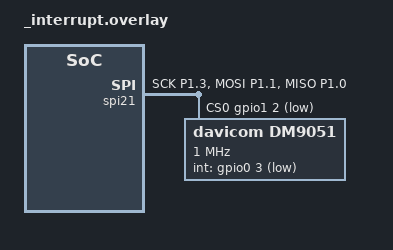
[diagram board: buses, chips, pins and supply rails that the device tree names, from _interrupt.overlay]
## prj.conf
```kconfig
CONFIG_NET_TCP=y

CONFIG_NET_DHCPV4=y
CONFIG_NET_DHCPV4_OPTION_CALLBACKS=y
CONFIG_DNS_RESOLVER=y

# HTTP Parser
CONFIG_HTTP_PARSER=y
CONFIG_HTTP_PARSER_URL=y

# Connection Manager
CONFIG_NET_CONNECTION_MANAGER=y

# Sockets
CONFIG_NET_SOCKETS=y

#CONFIG_TEST_RANDOM_GENERATOR=y

CONFIG_INIT_STACKS=y

CONFIG_NET_MGMT=y
CONFIG_NET_MGMT_EVENT=y
CONFIG_NET_MGMT_EVENT_INFO=y

# Enable POSIX API for socket functions
# CONFIG_NET_SOCKETS_POSIX_NAMES is deprecated, use CONFIG_POSIX_API instead
CONFIG_POSIX_API=y

# Enable the UART driver (nRF54L15 uses UART20, not UART0)
#CONFIG_NET_LOG=y
CONFIG_LOG=y

#CONFIG_SLIP_STATISTICS=n
CONFIG_NET_SHELL=y

# Config logger
#CONFIG_USE_SEGGER_RTT=n
#CONFIG_LOG_BACKEND_RTT=n

# Increase network connection contexts to support more simultaneous connections
CONFIG_NET_MAX_CONN=16
```

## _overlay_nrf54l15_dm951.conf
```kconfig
#
# Copyright (c) 2024 Nordic Semiconductor
#
# SPDX-License-Identifier: LicenseRef-Nordic-5-Clause
#

# Disable the unsupported UART0 driver
CONFIG_NRFX_UARTE0=n

# Enable UART console for logging output
CONFIG_UART_CONSOLE=y
CONFIG_LOG_BACKEND_UART=y

# ENC28J60 Ethernet driver configuration
CONFIG_NET_L2_ETHERNET=y

# SPI support (required for ENC28J60 which uses SPI)
CONFIG_SPI=y

# Optional: Enable debug logging for Ethernet
#CONFIG_ETHERNET_LOG_LEVEL_DBG=y
```

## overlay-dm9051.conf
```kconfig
# DM9051 Ethernet driver configuration
CONFIG_NET_L2_ETHERNET=y

# SPI support (required for DM9051 which uses SPI)
CONFIG_SPI=y

# Optional: Enable debug logging for Ethernet
#CONFIG_ETHERNET_LOG_LEVEL_DBG=y
```

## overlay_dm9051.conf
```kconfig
#
# Copyright (c) 2025 Davicom Semiconductor Inc
#
# SPDX-License
#
CONFIG_NETWORKING=y
CONFIG_NET_IPV6=n
CONFIG_NET_IPV4=y
CONFIG_NET_ARP=y
CONFIG_NET_UDP=y

# --- Basic Network Configuration ---
CONFIG_NET_L2_ETHERNET=y

# Increase the network buffer data size to accommodate a full MTU packet
# This prevents fragmentation for large packets and avoids the "Uncontiguous data cannot be linearized" error
CONFIG_NET_BUF_DATA_SIZE=2048

# --- Resource Allocation for Large Packets ---
# Explicitly enable IPv4 fragment reassembly
CONFIG_NET_IPV4_FRAGMENT=y

# DM9051 Ethernet controller driver
CONFIG_ETH_DM9051=y

# SPI support (DM9051 uses SPI interface)
CONFIG_SPI=y

# GPIO support (DM9051 uses GPIO interfaces)
CONFIG_GPIO=y

# Debug support 
CONFIG_ETH_DM9051_DEBUG_PRINTS=y
```

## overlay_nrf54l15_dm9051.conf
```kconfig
#
# Copyright (c) 2025 Davicom Semiconductor Inc
#
# SPDX-License
#
CONFIG_NETWORKING=y
CONFIG_NET_IPV6=n
CONFIG_NET_IPV4=y
CONFIG_NET_ARP=y
CONFIG_NET_UDP=y

# --- Basic Network Configuration ---
CONFIG_NET_L2_ETHERNET=y

# Increase the network buffer data size to accommodate a full MTU packet
# This prevents fragmentation for large packets and avoids the "Uncontiguous data cannot be linearized" error
CONFIG_NET_BUF_DATA_SIZE=2048

# --- Resource Allocation for Large Packets ---
# Explicitly enable IPv4 fragment reassembly
CONFIG_NET_IPV4_FRAGMENT=y

# DM9051 Ethernet controller driver
CONFIG_ETH_DM9051=y

# SPI support (DM9051 uses SPI interface)
CONFIG_SPI=y
# GPIO support (DM9051 uses GPIO interfaces)
CONFIG_GPIO=y

#  CONFIG_SERIAL=y
# USART printf support (UART console backend for logging)
#  CONFIG_CONSOLE=y
#  CONFIG_UART_CONSOLE=y
CONFIG_LOG_BACKEND_UART=y
# ensure printk available
#  CONFIG_PRINTK=y

# Shell
CONFIG_SHELL_LOG_BACKEND=n

# ensure use nrf54l15 INTERNAL CLOCK
CONFIG_CLOCK_CONTROL_NRF_K32SRC_RC=y
```

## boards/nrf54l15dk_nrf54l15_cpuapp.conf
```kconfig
#
# Copyright (c) 2024 Nordic Semiconductor
#
# SPDX-License-Identifier: LicenseRef-Nordic-5-Clause
#

# Disable the unspupported UART0 driver
CONFIG_NRFX_UARTE0=n

# Enable UART console for logging output
CONFIG_UART_CONSOLE=y
CONFIG_LOG_BACKEND_UART=y
```

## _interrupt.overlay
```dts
/*
 * DM9051 overlay (INTERRUPT mode) for nRF54L15DK CPUAPP
 *
 * - Set int-gpios -> eth_dm9051.c uses interrupt mode (cint(dev)==true)
 * - reset-gpios optional (left commented)
 */

&rram_controller {
	/delete-node/ cpuflpr_sram;
	/delete-node/ cpuflpr_rram;
};

&cpuapp_sram {
	reg = <0x20000000 DT_SIZE_K(256)>;
	ranges = <0x0 0x20000000 0x20040000>;
};

&cpuapp_rram {
	reg = <0x0 DT_SIZE_K(1524)>;
};

/* Keep GPIO ports enabled; enable their required GPIOTE instances */
&gpio0 {
	status = "okay";
};

&gpio1 {
	status = "okay";
};

&gpiote30 {
	status = "okay";
};

&gpiote20 {
	status = "okay";
};

&pinctrl {
	spi21_default: spi21_default {
		group1 {
			psels = <NRF_PSEL(SPIM_SCK, 1, 3)>,
				<NRF_PSEL(SPIM_MOSI, 1, 1)>,
				<NRF_PSEL(SPIM_MISO, 1, 0)>;
		};
	};

	spi21_sleep: spi21_sleep {
		group1 {
			psels = <NRF_PSEL(SPIM_SCK, 1, 3)>,
				<NRF_PSEL(SPIM_MOSI, 1, 1)>,
				<NRF_PSEL(SPIM_MISO, 1, 0)>;
			low-power-enable;
		};
	};
};

&spi21 {
	status = "okay";
	clocks = <&hfpll>;
	cs-gpios = <&gpio1 2 GPIO_ACTIVE_LOW>; /* CS on P1.2 */
	pinctrl-0 = <&spi21_default>;
	pinctrl-1 = <&spi21_sleep>;
	pinctrl-names = "default", "sleep";

	dm9051: dm9051@0 {
		compatible = "davicom,dm9051";
		reg = <0>;
		spi-max-frequency = <1000000>;

		/* Interrupt mode */
		int-gpios = <&gpio0 3 GPIO_ACTIVE_LOW>;

		/* Optional HW reset (fill with your real pin if used) */
		/* reset-gpios = <&gpio1 4 GPIO_ACTIVE_LOW>; */

		local-mac-address = [00 00 00 00 00 00];
	};
};

&nfct {
	status = "disabled";
};

&uicr {
	nfct-pins-as-gpios;
};
```

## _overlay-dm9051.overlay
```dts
/*
 * Device Tree overlay for DM9051 SPI Ethernet Controller
 * 
 * This overlay configures the DM9051 Ethernet controller connected via SPI.
 * Modify the SPI controller, GPIO pins, and other settings according to your
 * hardware configuration.
 */

&spi00 {
	status = "okay";
	
	dm9051: dm9051@0 {
		compatible = "davicom,dm9051";
		reg = <0>;
		spi-max-frequency = <20000000>;
		int-gpios = <&gpio0 5 1>;
	};
};

&gpio0 {
	status = "okay";
};
```

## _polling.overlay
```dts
/*
 * DM9051 overlay (POLLING mode) for nRF54L15DK CPUAPP
 *
 * - No int-gpios -> eth_dm9051.c uses polling mode (cint(dev)==false)
 * - No reset-gpios -> eth_dm9051.c skips HW reset (crst(dev)==false)
 */

&rram_controller {
	/delete-node/ cpuflpr_sram;
	/delete-node/ cpuflpr_rram;
};

&cpuapp_sram {
	reg = <0x20000000 DT_SIZE_K(256)>;
	ranges = <0x0 0x20000000 0x20040000>;
};

&cpuapp_rram {
	reg = <0x0 DT_SIZE_K(1524)>;
};

/* Keep GPIO ports enabled; enable their required GPIOTE instances */
&gpio0 {
	status = "okay";
};

&gpio1 {
	status = "okay";
};

&gpiote30 {
	status = "okay";
};

&gpiote20 {
	status = "okay";
};

&pinctrl {
	spi21_default: spi21_default {
		group1 {
			psels = <NRF_PSEL(SPIM_SCK, 1, 3)>,
				<NRF_PSEL(SPIM_MOSI, 1, 1)>,
				<NRF_PSEL(SPIM_MISO, 1, 0)>;
		};
	};

	spi21_sleep: spi21_sleep {
		group1 {
			psels = <NRF_PSEL(SPIM_SCK, 1, 3)>,
				<NRF_PSEL(SPIM_MOSI, 1, 1)>,
				<NRF_PSEL(SPIM_MISO, 1, 0)>;
			low-power-enable;
		};
	};
};

&spi21 {
	status = "okay";
	clocks = <&hfpll>;
	cs-gpios = <&gpio1 2 GPIO_ACTIVE_LOW>; /* CS on P1.2 */
	pinctrl-0 = <&spi21_default>;
	pinctrl-1 = <&spi21_sleep>;
	pinctrl-names = "default", "sleep";

	dm9051: dm9051@0 {
		compatible = "davicom,dm9051";
		reg = <0>;
		spi-max-frequency = <1000000>;

		/* Polling mode: do NOT set int-gpios */
		/* int-gpios = <&gpio0 3 GPIO_ACTIVE_LOW>; */

		/* Optional HW reset (fill with your real pin if used) */
		/* reset-gpios = <&gpio1 4 GPIO_ACTIVE_LOW>; */

		local-mac-address = [00 00 00 00 00 00];
	};
};

&nfct {
	status = "disabled";
};

&uicr {
	nfct-pins-as-gpios;
};
```

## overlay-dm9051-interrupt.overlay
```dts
/*
 * Device Tree overlay for DM9051 SPI Ethernet Controller - INTERRUPT MODE
 * 
 * This overlay configures the DM9051 Ethernet controller in INTERRUPT mode.
 * The int-gpios property enables interrupt-driven packet reception.
 * 
 * To use this overlay:
 * west build -b nrf54l15dk/nrf54l15/cpuapp -- -DDTC_OVERLAY_FILE="overlay-dm9051-interrupt.overlay"
 */

&spi00 {
	status = "okay";
	
	dm9051: dm9051@0 {
		compatible = "davicom,dm9051";
		reg = <0>;
		spi-max-frequency = <20000000>;
		
		/* Interrupt GPIO configuration - enables INTERRUPT mode */
		/* Adjust the GPIO port and pin according to your hardware */
		int-gpios = <&gpio0 5 GPIO_ACTIVE_LOW>;
		
		/* MAC address (optional, can be set via DHCP) */
		local-mac-address = [00 60 6e 90 51 11];
	};
};

&gpio0 {
	status = "okay";
};
```

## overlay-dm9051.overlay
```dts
/*
 * Device Tree overlay for DM9051 SPI Ethernet Controller
 * 
 * This overlay configures the DM9051 Ethernet controller connected via SPI.
 * Modify the SPI controller, GPIO pins, and other settings according to your
 * hardware configuration.
 */

/dts-v1/;
/plugin/;

#include <dt-bindings/gpio/gpio.h>

/ {
    /*compatible = "nordic,nrf54l15dk-nrf54l15-cpuapp"; */
    compatible = "nordic,nrf54l15dk_nrf54l15_cpuapp";
};

/*
 * Configure SPI controller
 * Change &spi0 to the appropriate SPI controller on your board (e.g., &spi1, &spi2)
 * For nRF54L15, typically use &spi0 or &spi1
 */
&spi0 {
	status = "okay";
	
	/*
	 * DM9051 device node
	 * 
	 * reg = <0> means using CS0 (first chip select)
	 * Change to <1> for CS1, <2> for CS2, etc.
	 */
	dm9051: dm9051@0 {
		compatible = "davicom,dm9051";
		reg = <0>;  /* SPI CS line number */
		
		/*
		 * SPI clock frequency in Hz
		 * DM9051 maximum frequency is typically 25MHz
		 * If you encounter communication issues, try reducing this value
		 */
		spi-max-frequency = <20000000>;  /* 20 MHz */
		
		/*
		 * Interrupt GPIO configuration
		 * Format: <&gpio_controller pin_number active_level>
		 * 
		 * Example for nRF54L15 with P0.05:
		 * int-gpios = <&gpio0 5 GPIO_ACTIVE_LOW>;
		 * 
		 * DM9051 interrupt is typically active low, so use GPIO_ACTIVE_LOW
		 * Modify the GPIO controller and pin number according to your hardware
		 */
		int-gpios = <&gpio0 5 GPIO_ACTIVE_LOW>;
		
		/*
		 * Optional: Set MAC address manually
		 * Format: [byte0 byte1 byte2 byte3 byte4 byte5]
		 * 
		 * If not specified, the driver will use a random MAC address
		 * 
		 * Uncomment and modify the MAC address as needed:
		 */
		/* local-mac-address = [00 02 F7 12 34 56]; */
		
		/*
		 * Optional: Use random MAC address
		 * Uncomment this line to explicitly enable random MAC generation:
		 */
		/* zephyr,random-mac-address; */
	};
};

/*
 * Ensure GPIO controller is enabled
 * Modify &gpio0 to match the GPIO controller used in int-gpios above
 */
&gpio0 {
	status = "okay";
};
```

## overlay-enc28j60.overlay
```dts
/*
 * Device Tree overlay for ENC28J60 SPI Ethernet Controller
 * 
 * This overlay configures the ENC28J60 Ethernet controller connected via SPI.
 * Modify the SPI controller, GPIO pins, and other settings according to your
 * hardware configuration.
 */

/dts-v1/;
/plugin/;

#include <dt-bindings/gpio/gpio.h>

/ {
    compatible = "your,board-compatible-string";
};

/*
 * Configure SPI controller
 * Change &spi0 to the appropriate SPI controller on your board (e.g., &spi1, &spi2)
 */
&spi0 {
    status = "okay";
    
    /*
     * ENC28J60 device node
     * 
     * reg = <0> means using CS0 (first chip select)
     * Change to <1> for CS1, <2> for CS2, etc.
     */
    enc28j60: enc28j60@0 {
        compatible = "microchip,enc28j60";
        reg = <0>;  /* SPI CS line number */
        
        /*
         * SPI clock frequency in Hz
         * ENC28J60 maximum frequency is 20MHz
         * If you encounter communication issues, try reducing this value
         */
        spi-max-frequency = <10000000>;  /* 10 MHz */
        
        /*
         * Interrupt GPIO configuration
         * Format: <&gpio_controller pin_number active_level>
         * 
         * Example for nRF52840 with P0.05:
         * int-gpios = <&gpio0 5 GPIO_ACTIVE_LOW>;
         * 
         * ENC28J60 interrupt is active low, so use GPIO_ACTIVE_LOW
         * Modify the GPIO controller and pin number according to your hardware
         */
        int-gpios = <&gpio0 5 GPIO_ACTIVE_LOW>;
        
        /*
         * Optional: Enable full-duplex mode
         * Comment out this line to use half-duplex mode
         */
        full-duplex;
        
        /*
         * Optional: Set MAC address manually
         * Format: [byte0 byte1 byte2 byte3 byte4 byte5]
         * 
         * If not specified, the driver will use a random MAC address
         * with Microchip OUI (00:04:A3)
         * 
         * Uncomment and modify the MAC address as needed:
         */
        /* local-mac-address = [00 04 A3 12 34 56]; */
        
        /*
         * Optional: Use random MAC address
         * Uncomment this line to explicitly enable random MAC generation:
         */
        /* zephyr,random-mac-address; */
        
        /*
         * Optional: Hardware receive filter configuration
         * Default value is 0xA3 (unicast, multicast, broadcast with CRC check)
         * 
         * Uncomment and modify if needed:
         */
        /* hw-rx-filter = <0xA3>; */
    };
};

/*
 * Ensure GPIO controller is enabled
 * Modify &gpio0 to match the GPIO controller used in int-gpios above
 */
&gpio0 {
    status = "okay";
};
```

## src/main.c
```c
/* Networking DHCPv4 client */

/*
 * Copyright (c) 2017 ARM Ltd.
 * Copyright (c) 2016 Intel Corporation.
 *
 * SPDX-License-Identifier: Apache-2.0
 */

#include <zephyr/logging/log.h>
LOG_MODULE_REGISTER(dhcpv4_client_sample, LOG_LEVEL_DBG);

#include <zephyr/kernel.h>
#include <zephyr/linker/sections.h>
#include <errno.h>
#include <stdio.h>

#include <zephyr/net/net_if.h>
#include <zephyr/net/net_core.h>
#include <zephyr/net/net_context.h>
#include <zephyr/net/net_mgmt.h>
#include <zephyr/drivers/gpio.h>
#include <zephyr/net/ethernet.h>
#include <zephyr/net/ethernet_mgmt.h>

#define DHCP_OPTION_NTP (42)

static uint8_t ntp_server[4];

static struct net_mgmt_event_callback mgmt_cb_ipv4;
static struct net_mgmt_event_callback mgmt_cb_eth;

static struct net_dhcpv4_option_callback dhcp_cb;

#define MAIN_BSACIC_COUNT 1000
int endc = 0;

static void start_dhcpv4_client(struct net_if *iface, void *user_data)
{
	ARG_UNUSED(user_data);

	LOG_INF("Start on %s (index=%d)", net_if_get_device(iface)->name,
		net_if_get_by_iface(iface));
	net_dhcpv4_start(iface);
}

static void handler(struct net_mgmt_event_callback *cb, uint32_t mgmt_event, struct net_if *iface)
{
	int i = 0;
	const struct device *dev = net_if_get_device(iface);
	const char *ifname = dev ? dev->name : "?";
	int ifindex = net_if_get_by_iface(iface);
	char lladdr_buf[3 * 16];
	const struct net_linkaddr *lladdr = net_if_get_link_addr(iface);
	int llpos = 0;

	lladdr_buf[0] = '\0';
	if (lladdr && lladdr->addr && lladdr->len > 0) {
		for (size_t j = 0; j < lladdr->len && j < 16; j++) {
			llpos += snprintk(lladdr_buf + llpos, sizeof(lladdr_buf) - llpos, "%s%02x",
					  (j == 0) ? "" : ":", lladdr->addr[j]);
			if (llpos >= sizeof(lladdr_buf)) {
				break;
			}
		}
	}

	/* Decode event layer and command */
	// uint32_t event_layer = mgmt_event & 0xFFFF0000;
	// uint32_t event_cmd = mgmt_event & 0x0000FFFF;

	// printk("[TRACE] hdlr event=0x%08x (layer=0x%08x cmd=0x%04x) on %s (index=%d) mac=%s\n",
	//        mgmt_event, event_layer, event_cmd, ifname, ifindex, lladdr_buf);

	if (mgmt_event == NET_EVENT_ETHERNET_CARRIER_ON) {
		printk("[TRACE] *** CARRIER ON *** on %s (index=%d) ll=%s\n", ifname, ifindex,
		       lladdr_buf);
		return;
	}

	if (mgmt_event == NET_EVENT_ETHERNET_CARRIER_OFF) {
		printk("[TRACE] *** CARRIER OFF *** on %s (index=%d) ll=%s\n", ifname, ifindex,
		       lladdr_buf);
		return;
	}

	/* if (mgmt_event == NET_EVENT_IPV4_ADDR_ADD ||) */
	if (mgmt_event == NET_EVENT_IPV4_DHCP_BOUND) {
		// const char *event_name =
		//	(mgmt_event == NET_EVENT_IPV4_DHCP_BOUND) ? "NET_EVENT_IPV4_DHCP_BOUND"
		//						 : "NET_EVENT_IPV4_ADDR_ADD";

		// printk("[TRACE] hdlr %s on %s (index=%d) ll=%s\n",
		//        event_name, ifname, ifindex, lladdr_buf);

		for (i = 0; i < NET_IF_MAX_IPV4_ADDR; i++) {
			char buf[NET_IPV4_ADDR_LEN];

			if (iface->config.ip.ipv4->unicast[i].ipv4.addr_type != NET_ADDR_DHCP) {
				continue;
			}

			LOG_INF("   Address[%d]: %s", net_if_get_by_iface(iface),
				net_addr_ntop(
					AF_INET,
					&iface->config.ip.ipv4->unicast[i].ipv4.address.in_addr,
					buf, sizeof(buf)));
			LOG_INF("    Subnet[%d]: %s", net_if_get_by_iface(iface),
				net_addr_ntop(AF_INET, &iface->config.ip.ipv4->unicast[i].netmask,
					      buf, sizeof(buf)));
			LOG_INF("    Router[%d]: %s", net_if_get_by_iface(iface),
				net_addr_ntop(AF_INET, &iface->config.ip.ipv4->gw, buf,
					      sizeof(buf)));
			// LOG_INF("Lease time[%d]: %u seconds", net_if_get_by_iface(iface),
			//	iface->config.dhcpv4.lease_time);
		}
		return;
	}

	/* Fallback: unknown/unexpected event */
	// printk("[TRACE] hdlr UNKNOWN mgmt_event=0x%08x on %s (index=%d) ll=%s\n",
	//        mgmt_event, ifname, ifindex, lladdr_buf);
}

static void option_handler(struct net_dhcpv4_option_callback *cb, size_t length,
			   enum net_dhcpv4_msg_type msg_type, struct net_if *iface)
{
	char buf[NET_IPV4_ADDR_LEN];

	LOG_INF("DHCP Option %d: %s", cb->option,
		net_addr_ntop(AF_INET, cb->data, buf, sizeof(buf)));
}

/* nRF54L15DK LEDs (gpio-leds) */
#define LED0_NODE DT_NODELABEL(led0)
#define LED1_NODE DT_NODELABEL(led1)
#define LED2_NODE DT_NODELABEL(led2)
#define LED3_NODE DT_NODELABEL(led3)

static const struct gpio_dt_spec status_leds[] = {
	GPIO_DT_SPEC_GET(LED0_NODE, gpios),
	// GPIO_DT_SPEC_GET(LED1_NODE, gpios),
	// GPIO_DT_SPEC_GET(LED2_NODE, gpios),
	// GPIO_DT_SPEC_GET(LED3_NODE, gpios),
};

static const char *const status_led_names[] = {
	"led0",
	//"led1",
	//"led2",
	//"led3",
};

static uint8_t leds_ready_mask;

static int leds_init(void)
{
	int last_err = 0;

	leds_ready_mask = 0;

	for (size_t i = 0; i < ARRAY_SIZE(status_leds); i++) {
		const struct gpio_dt_spec *led = &status_leds[i];
		int ret;

		LOG_INF("Init %s: port %s, pin %d", status_led_names[i], led->port->name,
			led->pin); //", dt_flags=0x%x", led->dt_flags

		if (!device_is_ready(led->port)) {
			LOG_ERR("%s device %s not ready", status_led_names[i], led->port->name);
			last_err = -ENODEV;
			continue;
		}

		ret = gpio_pin_configure_dt(led, GPIO_OUTPUT);
		if (ret != 0) {
			LOG_ERR("%s configure failed: %d", status_led_names[i], ret);
			last_err = ret;
			continue;
		}

		(void)gpio_pin_set_dt(led, 0);
		leds_ready_mask |= BIT(i);
	}

	if (leds_ready_mask == 0) {
		return last_err != 0 ? last_err : -ENODEV;
	}

	// LOG_INF("LEDs ready mask=0x%x", leds_ready_mask);
	return 0;
}

int main(void)
{
	if (leds_init() != 0) {
		LOG_ERR("LED initialization failed - continuing without LED");
	}

	LOG_INF("Run dhcpv4 client.s (main.s=%d)", endc++);

	/* Note: net_mgmt event masks are layer-specific. Use one callback per layer. */
	net_mgmt_init_event_callback(&mgmt_cb_ipv4, handler,
				     /*NET_EVENT_IPV4_ADDR_ADD | */
				     NET_EVENT_IPV4_DHCP_BOUND);
	net_mgmt_add_event_callback(&mgmt_cb_ipv4);

	net_mgmt_init_event_callback(&mgmt_cb_eth, handler,
				     NET_EVENT_ETHERNET_CARRIER_ON |
					     NET_EVENT_ETHERNET_CARRIER_OFF);
	net_mgmt_add_event_callback(&mgmt_cb_eth);

	net_dhcpv4_init_option_callback(&dhcp_cb, option_handler, DHCP_OPTION_NTP, ntp_server,
					sizeof(ntp_server));

	net_dhcpv4_add_option_callback(&dhcp_cb);

	net_if_foreach(start_dhcpv4_client, NULL);

	LOG_INF("Run dhcpv4 client.e (main.e=%d)", endc++);

	printk("[TRACE] Entering main LED blink loop\n");
	int count = 0;
	int led_state = 0;
	while (1) {
		led_state ^= 1;
		for (size_t i = 0; i < ARRAY_SIZE(status_leds); i++) {
			if ((leds_ready_mask & BIT(i)) == 0) {
				continue;
			}

			const struct gpio_dt_spec *led = &status_leds[i];
			int ret = gpio_pin_set_dt(led, led_state);
			if (ret != 0) {
				LOG_ERR("%s gpio_pin_set_dt failed: %d", status_led_names[i], ret);
			}
		}

		if (count % 10 == 0) {
			for (size_t i = 0; i < ARRAY_SIZE(status_leds); i++) {
				if ((leds_ready_mask & BIT(i)) == 0) {
					continue;
				}

				int pin = gpio_pin_get_dt(&status_leds[i]);
				// OG_INF("%s set=%d read=%d count=%d",
				//	status_led_names[i], led_state, pin, count);
			}
		}
		count++;
		k_msleep(1000);
	}
	return 0;
}
```
